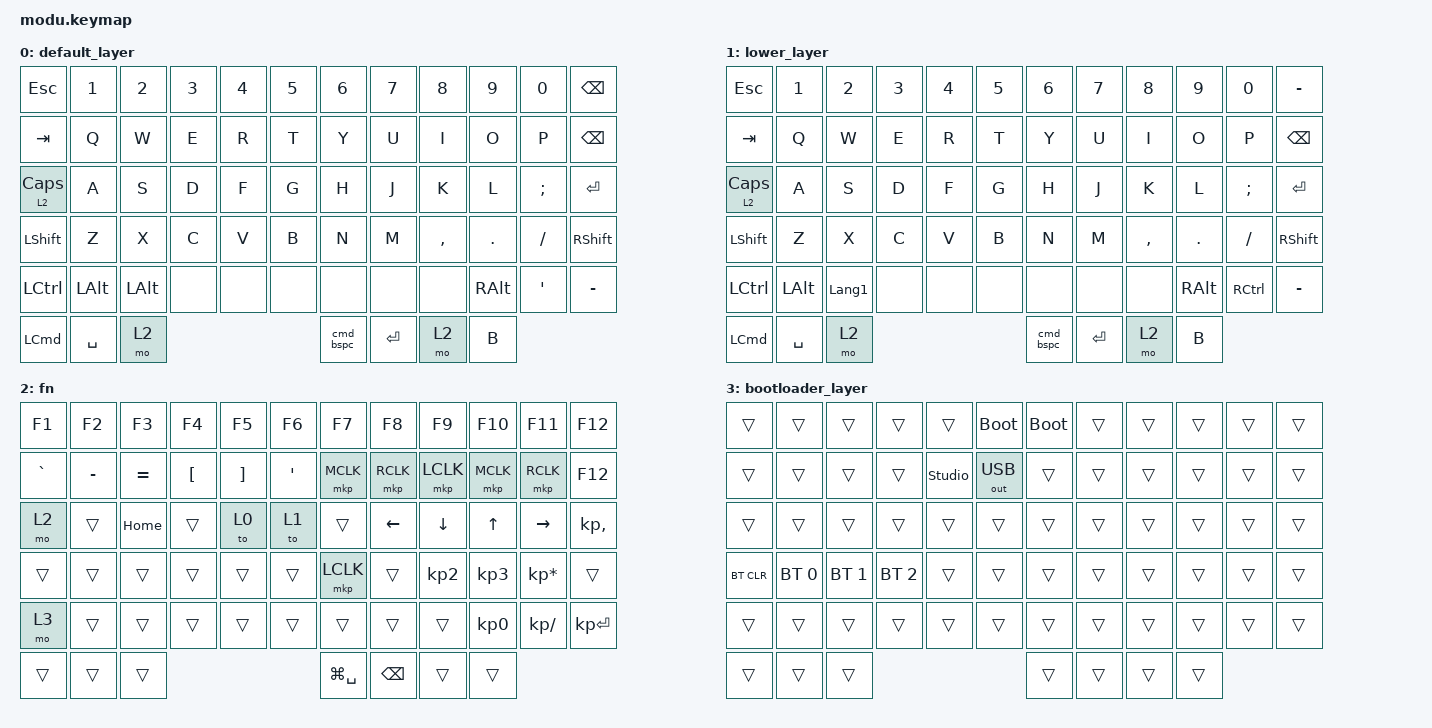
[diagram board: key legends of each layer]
/*
 * Copyright (c) 2026 EKS Inc.
 * Created by Ryu.
 * SPDX-License-Identifier: LicenseRef-EKS-NonCommercial-1.0
 *
 * Unofficial modification, based on upstream commit
 * bee0bb4b812f63f279eb67e928accc89600b5904 and customized through
 * Keymap Editor for GitHub Actions builds.
 */

#include <behaviors.dtsi>
#include <dt-bindings/zmk/bt.h>
#include <dt-bindings/zmk/keys.h>
#include <dt-bindings/zmk/modifiers.h>
#include <dt-bindings/zmk/pointing.h>
#include <dt-bindings/zmk/outputs.h>
#include "modu-layouts.dtsi"

/ {
    behaviors {
        cmd_bspc: command_backspace {
            compatible = "zmk,behavior-mod-morph";
            #binding-cells = <0>;
            display-name = "Command Backspace";
            bindings = <&kp BSPC>, <&kp SPACE>;
            mods = <(MOD_LGUI)>;
            keep-mods = <(MOD_LGUI)>;
        };
    };

    combos {
        compatible = "zmk,combos";

        reset {
            bindings = <&sys_reset>;
            key-positions = <48 5 6>;
        };

        combo_command_space {
            timeout-ms = <50>;
            key-positions = <60 63>;
            bindings = <&kp LG(SPACE)>;
        };
    };

    keymap {
        compatible = "zmk,keymap";

        default_layer {
            // -----------------------------------------------------------------
            // |ESC | 1  | 2  | 3  | 4  | 5  |   | 6  | 7  | 8  | 9  | 0  |DEL |
            // |TAB | Q  | W  | E  | R  | T  |   | Y  | U  | I  | O  | P  |HOME|
            // |CAPS| A  | S  | D  | F  | G  |   | H  | J  | K  | L  | ;  |PGUP|
            // |LSFT| Z  | X  | C  | V  | B  |   | N  | M  | ,  | .  | /  |PGDN|
            // |LCTL|LALT|LGUI|                                 |RALT|RCTL|END |
            //                |LANG|SPC |MO1 |   |BSPC|RET |MO1 | B  |

            bindings = <
&kp ESC           &kp N1     &kp N2        &kp N3  &kp N4  &kp N5  &kp N6    &kp N7   &kp N8     &kp N9    &kp N0    &kp BACKSPACE
&kp TAB           &kp Q      &kp W         &kp E   &kp R   &kp T   &kp Y     &kp U    &kp I      &kp O     &kp P     &kp BACKSPACE
&lt 2 CAPS        &kp A      &kp S         &kp D   &kp F   &kp G   &kp H     &kp J    &kp K      &kp L     &kp SEMI  &kp ENTER
&kp LSHFT         &kp Z      &kp X         &kp C   &kp V   &kp B   &kp N     &kp M    &kp COMMA  &kp DOT   &kp FSLH  &kp RIGHT_SHIFT
&kp LCTRL         &kp LALT   &kp LEFT_ALT  &none   &none   &none   &none     &none    &none      &kp RALT  &kp SQT   &kp MINUS
&kp LEFT_COMMAND  &kp SPACE  &mo 2                                 &cmd_bspc  &kp RET  &mo 2      &kp B
            >;
        };

        lower_layer {
            bindings = <
&kp ESC           &kp N1     &kp N2          &kp N3  &kp N4  &kp N5  &kp N6    &kp N7   &kp N8     &kp N9    &kp N0             &kp MINUS
&kp TAB           &kp Q      &kp W           &kp E   &kp R   &kp T   &kp Y     &kp U    &kp I      &kp O     &kp P              &kp BACKSPACE
&lt 2 CAPS        &kp A      &kp S           &kp D   &kp F   &kp G   &kp H     &kp J    &kp K      &kp L     &kp SEMI           &kp ENTER
&kp LSHFT         &kp Z      &kp X           &kp C   &kp V   &kp B   &kp N     &kp M    &kp COMMA  &kp DOT   &kp FSLH           &kp RIGHT_SHIFT
&kp LCTRL         &kp LALT   &kp LANGUAGE_1  &none   &none   &none   &none     &none    &none      &kp RALT  &kp RIGHT_CONTROL  &kp MINUS
&kp LEFT_COMMAND  &kp SPACE  &mo 2                                   &cmd_bspc  &kp RET  &mo 2      &kp B
            >;
        };

        fn {
            bindings = <
&kp F1               &kp F2               &kp F3               &kp F4               &kp F5               &kp F6               &kp F7               &kp F8               &kp F9               &kp F10              &kp F11              &kp F12
&kp GRAVE            &kp MINUS            &kp EQUAL            &kp LEFT_BRACKET     &kp RIGHT_BRACKET    &kp SQT              &mkp MCLK            &mkp RCLK            &mkp LCLK            &mkp MCLK            &mkp RCLK            &kp F12
&mo 2                &trans               &kp HOME             &trans               &to 0                &to 1                &trans               &kp LEFT_ARROW       &kp DOWN_ARROW       &kp UP_ARROW         &kp RIGHT_ARROW      &kp KP_COMMA
&trans               &trans               &trans               &trans               &trans               &trans               &mkp LCLK            &trans               &kp KP_N2            &kp KP_N3            &kp KP_MULTIPLY      &trans
&mo 3                &trans               &trans               &trans               &trans               &trans               &trans               &trans               &trans               &kp KP_N0            &kp KP_DIVIDE        &kp KP_ENTER
&trans               &trans               &trans                                                                             &kp LG(SPACE)        &kp BACKSPACE        &trans               &trans
            >;
        };

        bootloader_layer {
            bindings = <
&trans      &trans        &trans        &trans        &trans  &bootloader  &bootloader  &trans  &trans  &trans  &trans  &trans
&trans      &trans        &trans        &trans        &studio_unlock  &out OUT_USB       &trans       &trans  &trans  &trans  &trans  &trans
&trans      &trans        &trans        &trans        &trans  &trans       &trans       &trans  &trans  &trans  &trans  &trans
&bt BT_CLR  &bt BT_SEL 0  &bt BT_SEL 1  &bt BT_SEL 2  &trans  &trans       &trans       &trans  &trans  &trans  &trans  &trans
&trans      &trans        &trans        &trans        &trans  &trans       &trans       &trans  &trans  &trans  &trans  &trans
&trans      &trans        &trans                                           &trans       &trans  &trans  &trans
            >;
        };
    };
};
